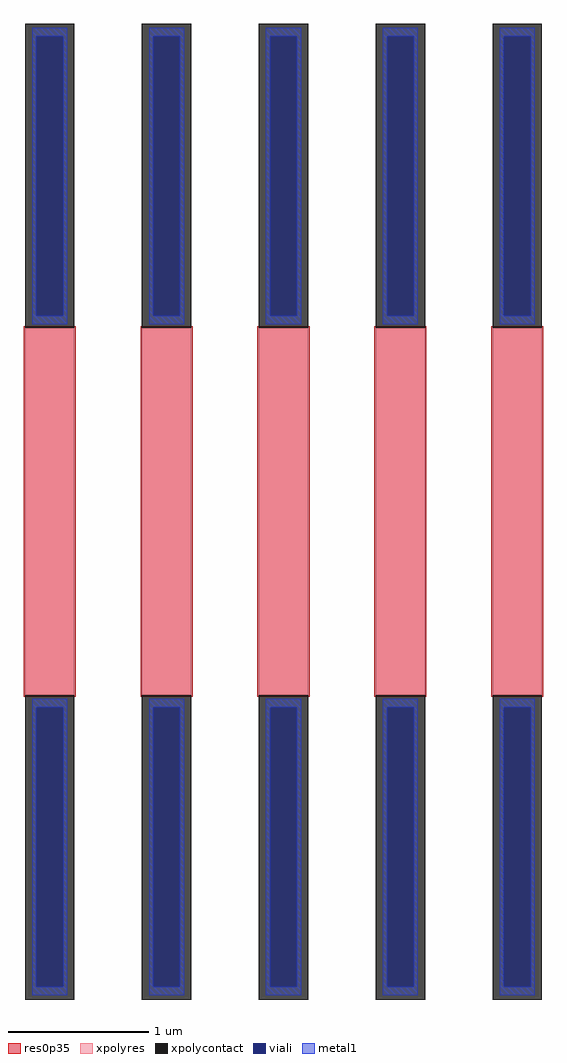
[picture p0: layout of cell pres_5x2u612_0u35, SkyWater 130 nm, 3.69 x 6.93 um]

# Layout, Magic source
magic
tech sky130A
magscale 1 2
<< xpolycontact >>
rect -60 1040 10 1472
rect -60 86 10 518
rect 106 1040 176 1472
rect 106 86 176 518
rect 272 1040 342 1472
rect 272 86 342 518
rect 438 1040 508 1472
rect 438 86 508 518
rect 604 1040 674 1472
rect 604 86 674 518
<< xpolyres >>
rect -60 518 10 1040
rect 106 518 176 1040
rect 272 518 342 1040
rect 438 518 508 1040
rect 604 518 674 1040
<< viali >>
rect -44 1057 -6 1454
rect 122 1057 160 1454
rect 288 1057 326 1454
rect 454 1057 492 1454
rect 620 1057 658 1454
rect -44 104 -6 501
rect 122 104 160 501
rect 288 104 326 501
rect 454 104 492 501
rect 620 104 658 501
<< metal1 >>
rect -50 1454 0 1466
rect -50 1057 -44 1454
rect -6 1057 0 1454
rect -50 1045 0 1057
rect 116 1454 166 1466
rect 116 1057 122 1454
rect 160 1057 166 1454
rect 116 1045 166 1057
rect 282 1454 332 1466
rect 282 1057 288 1454
rect 326 1057 332 1454
rect 282 1045 332 1057
rect 448 1454 498 1466
rect 448 1057 454 1454
rect 492 1057 498 1454
rect 448 1045 498 1057
rect 614 1454 664 1466
rect 614 1057 620 1454
rect 658 1057 664 1454
rect 614 1045 664 1057
rect -50 501 0 513
rect -50 104 -44 501
rect -6 104 0 501
rect -50 92 0 104
rect 116 501 166 513
rect 116 104 122 501
rect 160 104 166 501
rect 116 92 166 104
rect 282 501 332 513
rect 282 104 288 501
rect 326 104 332 501
rect 282 92 332 104
rect 448 501 498 513
rect 448 104 454 501
rect 492 104 498 501
rect 448 92 498 104
rect 614 501 664 513
rect 614 104 620 501
rect 658 104 664 501
rect 614 92 664 104
<< res0p35 >>
rect -62 516 12 1042
rect 104 516 178 1042
rect 270 516 344 1042
rect 436 516 510 1042
rect 602 516 676 1042
<< end >>
